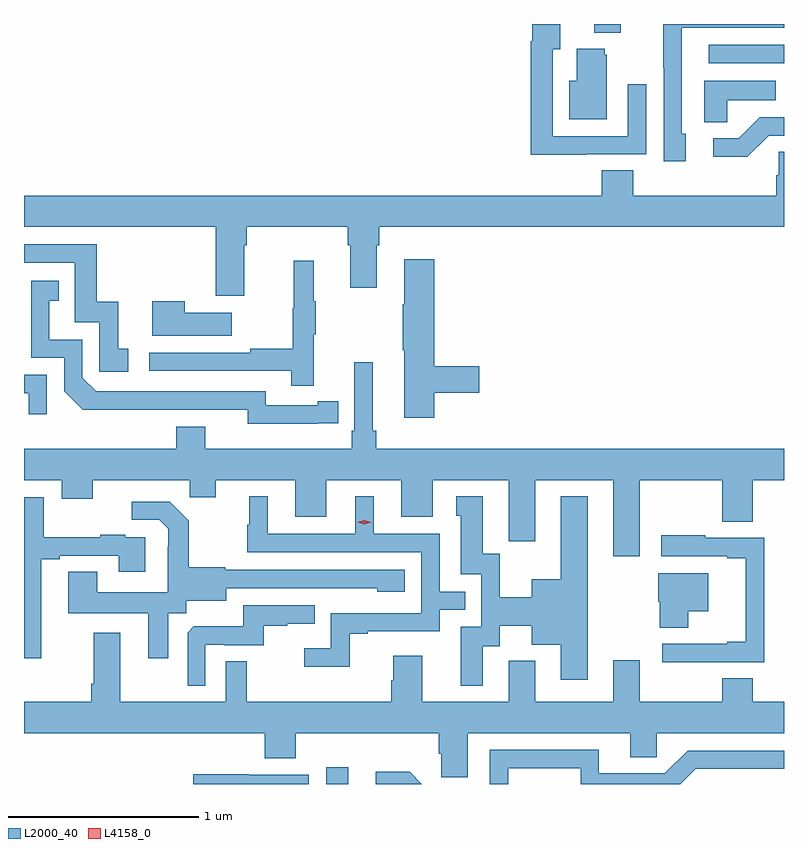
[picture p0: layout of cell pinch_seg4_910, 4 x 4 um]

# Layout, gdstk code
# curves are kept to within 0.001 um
import gdstk
lib = gdstk.Library(unit=1e-6, precision=1e-09)
def R(c, l, rs):  # rectangles x0, y0, x1, y1
    for r in rs: c.add(gdstk.rectangle(r[:2], r[2:], *l))
def P(c, l, *ps):  # polygons
    for p in ps: c.add(gdstk.Polygon(p, *l))
L2000_40 = (2000, 40)
L4158_0 = (4158, 0)

pinch_seg4_910 = lib.new_cell('pinch_seg4_910')
R(pinch_seg4_910, L2000_40, [(662.874,805.876,662.989,805.963), (664.887,809.67,665.283,809.766), (664.283,809.831,664.423,809.876)])
P(pinch_seg4_910, L2000_40, [(664.765,809.298),(664.746,809.298),(664.746,809.856),(665.283,809.856),(665.283,809.876),(664.648,809.876),(664.648,809.647),(664.65,809.647),(664.65,809.154),(664.765,809.154)],
  [(664.241,809.19),(664.557,809.19),(664.557,809.56),(664.461,809.56),(664.461,809.286),(664.065,809.286),(664.065,809.743),(664.105,809.743),(664.105,809.876),(663.957,809.876),(663.957,809.786),(663.949,809.786),(663.949,809.189),(664.241,809.189)],
  [(664.351,809.715),(664.34,809.715),(664.34,809.746),(664.193,809.746),(664.193,809.578),(664.154,809.578),(664.154,809.375),(664.351,809.375)],
  [(664.983,809.474),(665.24,809.474),(665.24,809.578),(664.862,809.578),(664.862,809.359),(664.983,809.359)],
  [(665.202,809.289),(665.283,809.289),(665.283,809.385),(665.156,809.385),(665.045,809.274),(664.911,809.274),(664.911,809.177),(665.089,809.177)],
  [(662.443,808.712),(662.456,808.712),(662.456,808.808),(662.987,808.808),(662.987,808.712),(662.999,808.712),(662.999,808.488),(663.139,808.488),(663.139,808.712),(663.152,808.712),(663.152,808.808),(665.283,808.808),(665.283,809.204),(665.256,809.204),(665.256,809.081),(665.243,809.081),(665.243,808.972),(664.49,808.972),(664.49,809.105),(664.325,809.105),(664.325,808.972),(661.283,808.972),(661.283,808.808),(662.291,808.808),(662.291,808.446),(662.443,808.446)],
  [(661.831,808.167),(661.778,808.167),(661.778,808.414),(661.667,808.414),(661.667,808.716),(661.283,808.716),(661.283,808.62),(661.551,808.62),(661.551,808.305),(661.68,808.305),(661.68,808.047),(661.831,808.047)],
  [(663.443,807.934),(663.679,807.934),(663.679,808.076),(663.443,808.076),(663.443,808.639),(663.284,808.639),(663.284,808.4),(663.277,808.4),(663.277,808.159),(663.284,808.159),(663.284,807.804),(663.443,807.804)],
  [(662.807,808.243),(662.818,808.243),(662.818,808.417),(662.807,808.417),(662.807,808.63),(662.704,808.63),(662.704,808.38),(662.697,808.38),(662.697,808.166),(662.473,808.166),(662.473,808.146),(661.941,808.146),(661.941,808.05),(662.689,808.05),(662.689,807.972),(662.807,807.972)],
  [(662.828,807.774),(662.936,807.774),(662.936,807.89),(662.828,807.89),(662.828,807.87),(662.556,807.87),(662.556,807.942),(661.662,807.942),(661.59,808.014),(661.59,808.215),(661.417,808.215),(661.417,808.419),(661.466,808.419),(661.466,808.525),(661.32,808.525),(661.32,808.119),(661.494,808.119),(661.494,807.942),(661.592,807.845),(662.46,807.846),(662.46,807.773)],
  [(662.377,808.357),(662.129,808.357),(662.129,808.417),(661.958,808.417),(661.958,808.235),(662.377,808.235)],
  [(664.525,807.476),(664.957,807.476),(664.957,807.256),(665.118,807.256),(665.118,807.476),(665.283,807.476),(665.283,807.64),(663.137,807.64),(663.137,807.736),(663.118,807.736),(663.118,808.096),(663.021,808.096),(663.021,807.736),(663.008,807.736),(663.008,807.64),(662.236,807.64),(662.236,807.757),(662.084,807.757),(662.084,807.64),(661.283,807.64),(661.283,807.476),(661.481,807.476),(661.481,807.377),(661.645,807.377),(661.645,807.476),(662.155,807.476),(662.155,807.386),(662.293,807.386),(662.293,807.476),(662.711,807.476),(662.711,807.282),(662.875,807.282),(662.875,807.476),(663.269,807.476),(663.269,807.282),(663.433,807.282),(663.433,807.476),(663.833,807.476),(663.833,807.265),(663.834,807.265),(663.834,807.153),(663.973,807.153),(663.973,807.476),(664.385,807.476),(664.385,807.075),(664.525,807.075)],
  [(661.404,808.029),(661.283,808.029),(661.283,807.933),(661.307,807.933),(661.307,807.822),(661.404,807.822)],
  [(662.997,806.667),(663.091,806.667),(663.091,806.679),(663.471,806.679),(663.471,806.793),(663.605,806.793),(663.605,806.889),(663.471,806.889),(663.471,807.192),(663.124,807.192),(663.124,807.391),(663.026,807.391),(663.026,807.192),(662.566,807.192),(662.566,807.391),(662.468,807.391),(662.468,807.24),(662.457,807.24),(662.457,807.096),(663.375,807.096),(663.375,806.775),(662.898,806.775),(662.898,806.59),(662.757,806.59),(662.757,806.492),(662.997,806.492)],
  [(663.697,806.602),(663.787,806.602),(663.787,806.708),(663.956,806.708),(663.956,806.609),(664.109,806.609),(664.109,806.424),(664.249,806.424),(664.249,807.391),(664.109,807.391),(664.109,806.953),(663.956,806.953),(663.956,806.86),(663.786,806.86),(663.786,807.087),(663.697,807.087),(663.697,807.391),(663.557,807.391),(663.557,807.288),(663.581,807.288),(663.581,806.979),(663.69,806.979),(663.69,806.703),(663.581,806.703),(663.581,806.394),(663.697,806.394)],
  [(661.375,807.06),(661.471,807.06),(661.471,807.078),(661.781,807.078),(661.781,806.994),(661.921,806.994),(661.921,807.174),(661.817,807.174),(661.817,807.187),(661.685,807.187),(661.685,807.176),(661.387,807.176),(661.387,807.384),(661.283,807.384),(661.283,806.538),(661.375,806.538)],
  [(662.041,806.776),(662.136,806.776),(662.136,806.84),(662.347,806.84),(662.347,806.907),(663.141,806.906),(663.141,806.888),(663.286,806.888),(663.286,807.003),(662.343,807.003),(662.343,807.016),(662.151,807.016),(662.151,807.261),(662.051,807.361),(661.851,807.361),(661.851,807.267),(661.995,807.267),(662.042,807.22),(662.042,807.125),(662.04,807.125),(662.04,806.884),(661.669,806.884),(661.669,806.993),(661.517,806.993),(661.517,806.774),(661.937,806.774),(661.937,806.538),(662.041,806.538)],
  [(664.868,806.517),(665.178,806.517),(665.178,807.171),(664.868,807.171),(664.868,807.184),(664.638,807.184),(664.638,807.075),(664.985,807.075),(664.985,807.063),(665.081,807.063),(665.081,806.626),(664.985,806.626),(664.985,806.613),(664.641,806.613),(664.641,806.516),(664.868,806.516)],
  [(664.779,806.786),(664.885,806.786),(664.885,806.986),(664.622,806.986),(664.622,806.835),(664.63,806.835),(664.63,806.698),(664.779,806.698)],
  [(662.238,806.61),(662.338,806.61),(662.338,806.607),(662.546,806.607),(662.546,806.709),(662.669,806.709),(662.669,806.72),(662.813,806.72),(662.813,806.817),(662.436,806.817),(662.436,806.705),(662.177,806.705),(662.145,806.673),(662.145,806.393),(662.238,806.393)],
  [(663.619,806.144),(664.475,806.144),(664.475,806.017),(664.614,806.017),(664.614,806.144),(665.283,806.144),(665.283,806.308),(665.118,806.308),(665.118,806.432),(664.957,806.432),(664.957,806.308),(664.525,806.308),(664.525,806.527),(664.385,806.527),(664.385,806.308),(663.973,806.308),(663.973,806.524),(663.833,806.524),(663.833,806.308),(663.379,806.308),(663.379,806.551),(663.227,806.551),(663.227,806.421),(663.215,806.421),(663.215,806.308),(662.455,806.308),(662.455,806.522),(662.346,806.522),(662.346,806.308),(661.789,806.308),(661.789,806.671),(661.649,806.671),(661.649,806.404),(661.637,806.404),(661.637,806.308),(661.283,806.308),(661.283,806.144),(662.549,806.144),(662.549,806.011),(662.714,806.011),(662.714,806.144),(663.467,806.144),(663.467,806.035),(663.48,806.035),(663.48,805.912),(663.619,805.912)],
  [(663.831,805.959),(664.212,805.959),(664.212,805.876),(664.738,805.876),(664.818,805.956),(665.283,805.956),(665.283,806.052),(664.776,806.052),(664.656,805.932),(664.309,805.932),(664.309,806.055),(663.735,806.055),(663.735,805.876),(663.831,805.876)],
  [(663.313,805.94),(663.135,805.94),(663.135,805.876),(663.377,805.876)],
  [(662.781,805.926),(662.465,805.926),(662.465,805.928),(662.173,805.928),(662.173,805.876),(662.781,805.876)])
P(pinch_seg4_910, L4158_0, [(663.075,807.244),(663.039,807.253),(663.039,807.253),(663.039,807.254),(663.075,807.263),(663.111,807.254),(663.111,807.253),(663.111,807.253)])

lib.write_gds('pinch_seg4_910.gds')
